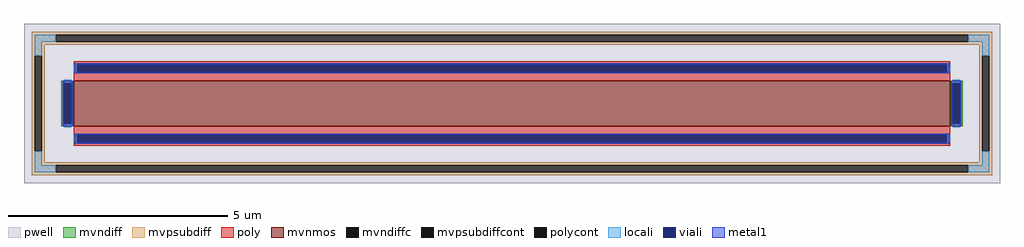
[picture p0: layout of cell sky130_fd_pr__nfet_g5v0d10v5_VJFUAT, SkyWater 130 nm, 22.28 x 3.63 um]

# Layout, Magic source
magic
tech sky130A
magscale 1 2
<< pwell >>
rect -2228 -363 2228 363
<< mvnmos >>
rect -2000 -105 2000 105
<< mvndiff >>
rect -2058 93 -2000 105
rect -2058 -93 -2046 93
rect -2012 -93 -2000 93
rect -2058 -105 -2000 -93
rect 2000 93 2058 105
rect 2000 -93 2012 93
rect 2046 -93 2058 93
rect 2000 -105 2058 -93
<< mvndiffc >>
rect -2046 -93 -2012 93
rect 2012 -93 2046 93
<< mvpsubdiff >>
rect -2192 315 2192 327
rect -2192 281 -2084 315
rect 2084 281 2192 315
rect -2192 269 2192 281
rect -2192 219 -2134 269
rect -2192 -219 -2180 219
rect -2146 -219 -2134 219
rect 2134 219 2192 269
rect -2192 -269 -2134 -219
rect 2134 -219 2146 219
rect 2180 -219 2192 219
rect 2134 -269 2192 -219
rect -2192 -281 2192 -269
rect -2192 -315 -2084 -281
rect 2084 -315 2192 -281
rect -2192 -327 2192 -315
<< mvpsubdiffcont >>
rect -2084 281 2084 315
rect -2180 -219 -2146 219
rect 2146 -219 2180 219
rect -2084 -315 2084 -281
<< poly >>
rect -2000 177 2000 193
rect -2000 143 -1984 177
rect 1984 143 2000 177
rect -2000 105 2000 143
rect -2000 -143 2000 -105
rect -2000 -177 -1984 -143
rect 1984 -177 2000 -143
rect -2000 -193 2000 -177
<< polycont >>
rect -1984 143 1984 177
rect -1984 -177 1984 -143
<< locali >>
rect -2180 281 -2084 315
rect 2084 281 2180 315
rect -2180 219 -2146 281
rect 2146 219 2180 281
rect -2000 143 -1984 177
rect 1984 143 2000 177
rect -2046 93 -2012 109
rect -2046 -109 -2012 -93
rect 2012 93 2046 109
rect 2012 -109 2046 -93
rect -2000 -177 -1984 -143
rect 1984 -177 2000 -143
rect -2180 -281 -2146 -219
rect 2146 -281 2180 -219
rect -2180 -315 -2084 -281
rect 2084 -315 2180 -281
<< viali >>
rect -1984 143 1984 177
rect -2046 -93 -2012 93
rect 2012 -93 2046 93
rect -1984 -177 1984 -143
<< metal1 >>
rect -1996 177 1996 183
rect -1996 143 -1984 177
rect 1984 143 1996 177
rect -1996 137 1996 143
rect -2052 93 -2006 105
rect -2052 -93 -2046 93
rect -2012 -93 -2006 93
rect -2052 -105 -2006 -93
rect 2006 93 2052 105
rect 2006 -93 2012 93
rect 2046 -93 2052 93
rect 2006 -105 2052 -93
rect -1996 -143 1996 -137
rect -1996 -177 -1984 -143
rect 1984 -177 1996 -143
rect -1996 -183 1996 -177
<< properties >>
string FIXED_BBOX -2163 -298 2163 298
string gencell sky130_fd_pr__nfet_g5v0d10v5
string library sky130
string parameters w 1.05 l 20.0 m 1 nf 1 diffcov 100 polycov 100 guard 1 glc 1 grc 1 gtc 1 gbc 1 tbcov 100 rlcov 100 topc 1 botc 1 poverlap 0 doverlap 1 lmin 0.50 wmin 0.42 compatible {sky130_fd_pr__nfet_01v8 sky130_fd_pr__nfet_01v8_lvt  sky130_fd_bs_flash__special_sonosfet_star  sky130_fd_pr__nfet_g5v0d10v5 sky130_fd_pr__nfet_05v0_nvt  sky130_fd_pr__nfet_03v3_nvt} full_metal 1 viasrc 100 viadrn 100 viagate 100 viagb 0 viagr 0 viagl 0 viagt 0
<< end >>
